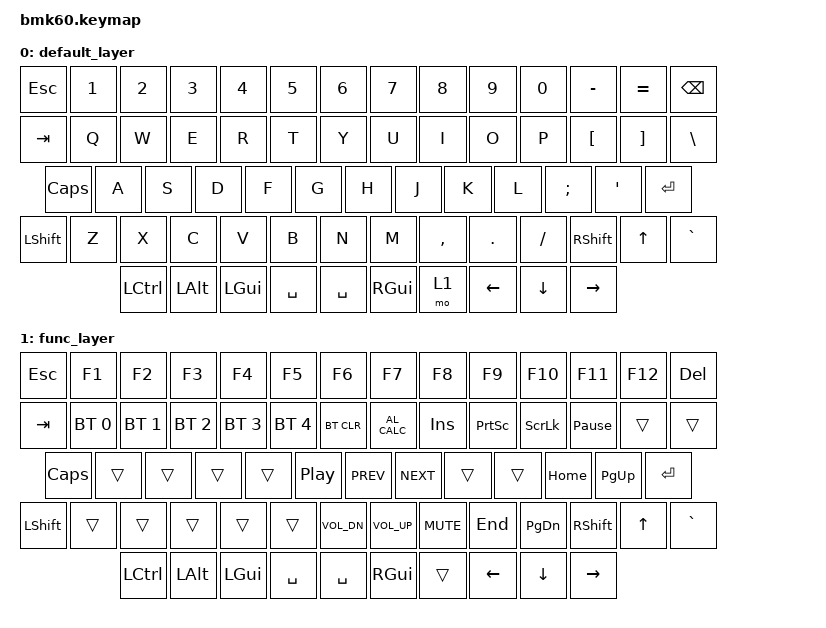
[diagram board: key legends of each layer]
/*
 * Copyright (c) 2021 
 *
 * SPDX-License-Identifier: MIT
 */

 #include <behaviors.dtsi>
 #include <dt-bindings/zmk/keys.h>
 //#include <dt-bindings/zmk/rgb.h>
 #include <dt-bindings/zmk/bt.h>
 #include <dt-bindings/zmk/outputs.h>
 
 / {
	 keymap {
		 compatible = "zmk,keymap";
		 
		 default_layer {
 // -----------------------------------------------------------------------------------------------------------------------------
 // |   ESC  |   1   |   2   |    3   |    4   |    5   |    6   |    7   |    8   |    9   |    0   |    -   |    +   |   BS   |
 // |   TAB  |   Q   |   W   |    E   |    R   |    T   |    Y   |    U   |    I   |    O   |    P   |    [   |    ]   |    \   |
 // |  CAPS  |   A   |   S   |    D   |    F   |    G   |    H   |    J   |    K   |    L   |    ;   |    '   |        |   ENT  |
 // |   STF  |   Z   |   X   |    C   |    V   |    B   |    N   |    M   |    ,   |    .   |    /   |   SFT  |    up  |    ~   |
 // |   CTL  |  OPT  |  CMD  |        |   sp   |        |        |   sp   |        |   CMD  |  MO(1) |  left  |   down |  right |
 // -----------------------------------------------------------------------------------------------------------------------------
			 bindings = < 
	 &kp ESC &kp N1 &kp N2 &kp N3 &kp N4 &kp N5 &kp N6  &kp N7 &kp N8 &kp N9 &kp N0 &kp MINUS &kp EQUAL &kp BSPC 
	 &kp TAB &kp Q &kp W &kp E &kp R &kp T &kp Y &kp U &kp I &kp O &kp P &kp LBKT &kp RBKT &kp BSLH 
	 &kp CAPSLOCK &kp A &kp S &kp D &kp F &kp G &kp H &kp J &kp K &kp L &kp SEMI &kp SQT &kp ENTER 
	 &kp LSHFT &kp Z &kp X &kp C &kp V &kp B &kp N &kp M &kp COMMA &kp PERIOD &kp FSLH &kp RSHFT &kp UP &kp GRAVE 
	 &kp LCTRL &kp LALT &kp LGUI &kp SPACE &kp SPACE &kp RGUI &mo 1  &kp LEFT &kp DOWN &kp RIGHT
			 >;
		 };
 
		 func_layer {
 // -----------------------------------------------------------------------------------------------------------------------------
 // |   ESC  |  F1   |  F2   |   F3   |   F4   |   F5   |   F6   |   F7   |   F8   |   F9   |   F10  |   F11  |   F12  |   DEL  |
 // |   TAB  |  BT 0 |  BT 1 |  BT 2  |  BT 3  |  BT 4  | BT CLR |  calc  |   ins  |printscr|scrolloc|pausebre|        |        |
 // |  CAPS  |       |       |        |        |appplay |pretrack|nxttrack|        |        |  home  | pageup |  ----- |   ENT  |
 // |   STF  |       |  app  |        |        |        |volumedn|volumeup|  mute  |   end  |pagedown|   SFT  |    up  |    ~   |
 // |   CTL  |  OPT  |  CMD  |  ----  |   sp   |  ----  |  ----- |   sp   |  ----- |   CMD  |  MO(1) |  left  |   down |  right |
 // -----------------------------------------------------------------------------------------------------------------------------
			 bindings = <
	 &kp ESC &kp F1 &kp F2 &kp F3 &kp F4 &kp F5 &kp F6  &kp F7 &kp F8 &kp F9 &kp F10 &kp F11 &kp F12 &kp DEL 
	 &kp TAB &bt BT_SEL 0 &bt BT_SEL 1 &bt BT_SEL 2 &bt BT_SEL 3 &bt BT_SEL 4 &bt BT_CLR &kp C_AL_CALC &kp INS &kp PSCRN &kp SLCK &kp PAUSE_BREAK  &trans &trans 
	 &kp CAPSLOCK &trans &trans &trans &trans &kp C_PP &kp C_PREV &kp C_NEXT &trans &trans &kp HOME &kp PG_UP &kp ENTER 
	 &kp LSHFT &trans &trans &trans &trans &trans &kp C_VOL_DN &kp C_VOL_UP &kp K_MUTE &kp END &kp PG_DN &kp RSHFT &kp UP &kp GRAVE 
	 &kp LCTRL &kp LALT &kp LGUI &kp SPACE &kp SPACE &kp RGUI &trans  &kp LEFT &kp DOWN &kp RIGHT 
			 >;
		 };
 
	 };
 };
 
